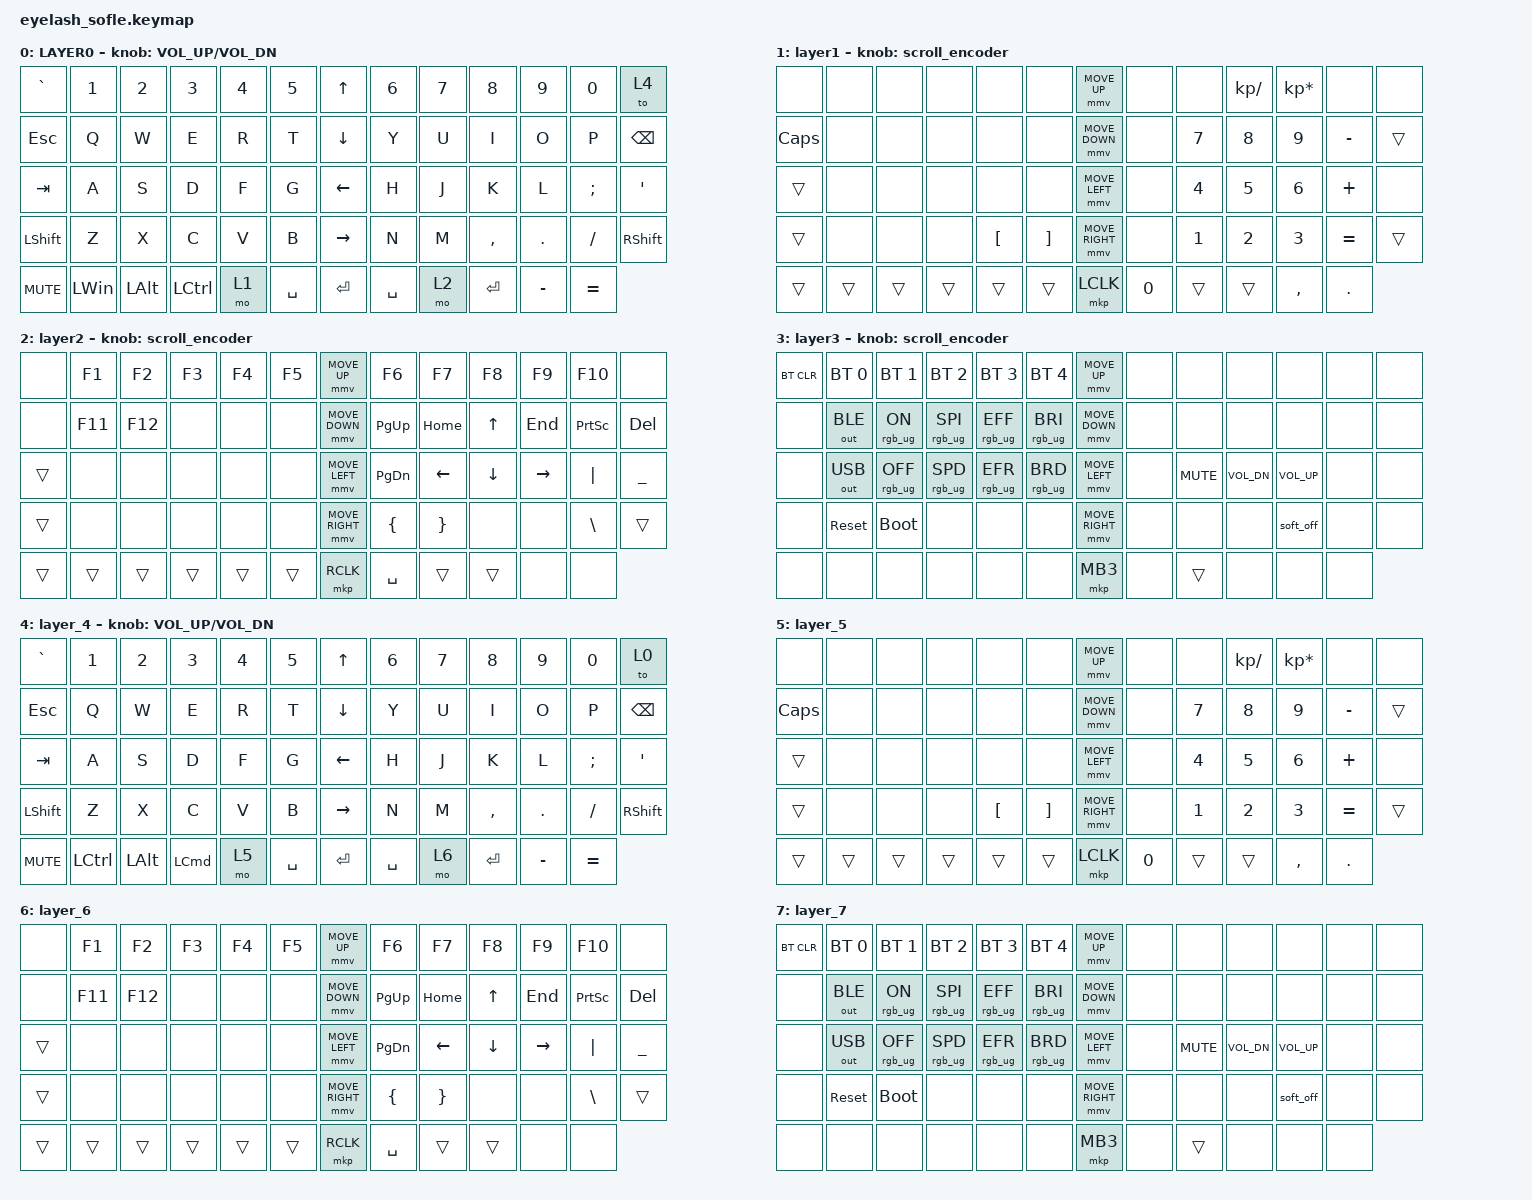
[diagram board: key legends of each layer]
#define ZMK_POINTING_DEFAULT_MOVE_VAL 1200  // 600
#define ZMK_POINTING_DEFAULT_SCRL_VAL 25   // 10

#include <input/processors.dtsi>
#include <zephyr/dt-bindings/input/input-event-codes.h>
#include <behaviors.dtsi>
#include <dt-bindings/zmk/bt.h>
#include <dt-bindings/zmk/keys.h>
#include <dt-bindings/zmk/outputs.h>
#include <dt-bindings/zmk/pointing.h>
#include <dt-bindings/zmk/rgb.h>

&mmv_input_listener { input-processors = <&zip_xy_scaler 2 1>; };

&msc_input_listener { input-processors = <&zip_scroll_scaler 2 1>; };

&msc {
    acceleration-exponent = <1>;      // 0
    time-to-max-speed-ms = <100>;       // 300
    delay-ms = <0>;                   // 0
};

&mmv {
    time-to-max-speed-ms = <500>;
    acceleration-exponent = <1>;
    trigger-period-ms = <16>;
};

&soft_off { hold-time-ms = <2000>; };

/ {
    scroll_encoder: scroll_encoder {
        compatible = "zmk,behavior-sensor-rotate";
        #sensor-binding-cells = <0>;
        bindings = <&msc SCRL_DOWN>, <&msc SCRL_UP>;

        tap-ms = <100>;
    };

    behaviors {
    };

    combos { compatible = "zmk,combos"; };

    keymap {
        compatible = "zmk,keymap";

        layer0 {
            bindings = <
&kp GRAVE   &kp N1        &kp N2        &kp N3     &kp N4  &kp N5       &kp UP_ARROW     &kp N6     &kp N7  &kp N8     &kp N9     &kp N0     &to 4
&kp ESCAPE  &kp Q         &kp W         &kp E      &kp R   &kp T        &kp DOWN_ARROW   &kp Y      &kp U   &kp I      &kp O      &kp P      &kp BACKSPACE
&kp TAB     &kp A         &kp S         &kp D      &kp F   &kp G        &kp LEFT_ARROW   &kp H      &kp J   &kp K      &kp L      &kp SEMI   &kp APOS
&kp LSHFT   &kp Z         &kp X         &kp C      &kp V   &kp B        &kp RIGHT_ARROW  &kp N      &kp M   &kp COMMA  &kp DOT    &kp FSLH   &kp RIGHT_SHIFT
&kp C_MUTE  &kp LEFT_WIN  &kp LEFT_ALT  &kp LCTRL  &mo 1   &kp SPACE    &kp ENTER        &kp SPACE  &mo 2   &kp ENTER  &kp MINUS  &kp EQUAL
            >;

            sensor-bindings = <&inc_dec_kp C_VOLUME_UP C_VOL_DN>;
            display-name = "LAYER0";
        };

        layer_1 {
            bindings = <
&none         &none   &none   &none   &none             &none                &mmv MOVE_UP     &none   &none         &kp KP_SLASH  &kp KP_MULTIPLY  &none      &none
&kp CAPSLOCK  &none   &none   &none   &none             &none                &mmv MOVE_DOWN   &none   &kp NUMBER_7  &kp NUMBER_8  &kp NUMBER_9     &kp MINUS  &trans
&trans        &none   &none   &none   &none             &none                &mmv MOVE_LEFT   &none   &kp NUMBER_4  &kp NUMBER_5  &kp NUMBER_6     &kp PLUS   &none
&trans        &none   &none   &none   &kp LEFT_BRACKET  &kp RIGHT_BRACKET    &mmv MOVE_RIGHT  &none   &kp NUMBER_1  &kp NUMBER_2  &kp NUMBER_3     &kp EQUAL  &trans
&trans        &trans  &trans  &trans  &trans            &trans               &mkp LCLK        &kp N0  &trans        &trans        &kp COMMA        &kp DOT
            >;

            display-name = "layer1";
            sensor-bindings = <&scroll_encoder>;
        };

        layer_2 {
            bindings = <
&none   &kp F1   &kp F2   &kp F3  &kp F4  &kp F5    &mmv MOVE_UP     &kp F6          &kp F7           &kp F8        &kp F9     &kp F10          &none
&none   &kp F11  &kp F12  &none   &none   &none     &mmv MOVE_DOWN   &kp PG_UP       &kp HOME         &kp UP_ARROW  &kp END    &kp PRINTSCREEN  &kp DELETE
&trans  &none    &none    &none   &none   &none     &mmv MOVE_LEFT   &kp PG_DN       &kp LEFT         &kp DOWN      &kp RIGHT  &kp PIPE         &kp UNDER
&trans  &none    &none    &none   &none   &none     &mmv MOVE_RIGHT  &kp LEFT_BRACE  &kp RIGHT_BRACE  &none         &none      &kp BSLH         &trans
&trans  &trans   &trans   &trans  &trans  &trans    &mkp RCLK        &kp SPACE       &trans           &trans        &none      &none
            >;

            display-name = "layer2";
            sensor-bindings = <&scroll_encoder>;
        };

        layer_3 {
            bindings = <
&bt BT_CLR  &bt BT_SEL 0  &bt BT_SEL 1     &bt BT_SEL 2     &bt BT_SEL 3     &bt BT_SEL 4       &mmv MOVE_UP     &none  &none       &none         &none         &none  &none
&none       &out OUT_BLE  &rgb_ug RGB_ON   &rgb_ug RGB_SPI  &rgb_ug RGB_EFF  &rgb_ug RGB_BRI    &mmv MOVE_DOWN   &none  &none       &none         &none         &none  &none
&none       &out OUT_USB  &rgb_ug RGB_OFF  &rgb_ug RGB_SPD  &rgb_ug RGB_EFR  &rgb_ug RGB_BRD    &mmv MOVE_LEFT   &none  &kp K_MUTE  &kp C_VOL_DN  &kp C_VOL_UP  &none  &none
&none       &sys_reset    &bootloader      &none            &none            &none              &mmv MOVE_RIGHT  &none  &none       &none         &soft_off     &none  &none
&none       &none         &none            &none            &none            &none              &mkp MB3         &none  &trans      &none         &none         &none
            >;

            display-name = "layer3";
            sensor-bindings = <&scroll_encoder>;
        };

        layer_4 {
            bindings = <
&kp GRAVE   &kp N1     &kp N2        &kp N3    &kp N4  &kp N5       &kp UP_ARROW     &kp N6     &kp N7  &kp N8     &kp N9     &kp N0     &to 0
&kp ESCAPE  &kp Q      &kp W         &kp E     &kp R   &kp T        &kp DOWN_ARROW   &kp Y      &kp U   &kp I      &kp O      &kp P      &kp BACKSPACE
&kp TAB     &kp A      &kp S         &kp D     &kp F   &kp G        &kp LEFT_ARROW   &kp H      &kp J   &kp K      &kp L      &kp SEMI   &kp APOS
&kp LSHFT   &kp Z      &kp X         &kp C     &kp V   &kp B        &kp RIGHT_ARROW  &kp N      &kp M   &kp COMMA  &kp DOT    &kp FSLH   &kp RIGHT_SHIFT
&kp C_MUTE  &kp LCTRL  &kp LEFT_ALT  &kp LCMD  &mo 5   &kp SPACE    &kp ENTER        &kp SPACE  &mo 6   &kp ENTER  &kp MINUS  &kp EQUAL
            >;

            sensor-bindings = <&inc_dec_kp C_VOLUME_UP C_VOL_DN>;
        };

        layer_5 {
            bindings = <
&none         &none   &none   &none   &none             &none                &mmv MOVE_UP     &none   &none         &kp KP_SLASH  &kp KP_MULTIPLY  &none      &none
&kp CAPSLOCK  &none   &none   &none   &none             &none                &mmv MOVE_DOWN   &none   &kp NUMBER_7  &kp NUMBER_8  &kp NUMBER_9     &kp MINUS  &trans
&trans        &none   &none   &none   &none             &none                &mmv MOVE_LEFT   &none   &kp NUMBER_4  &kp NUMBER_5  &kp NUMBER_6     &kp PLUS   &none
&trans        &none   &none   &none   &kp LEFT_BRACKET  &kp RIGHT_BRACKET    &mmv MOVE_RIGHT  &none   &kp NUMBER_1  &kp NUMBER_2  &kp NUMBER_3     &kp EQUAL  &trans
&trans        &trans  &trans  &trans  &trans            &trans               &mkp LCLK        &kp N0  &trans        &trans        &kp COMMA        &kp DOT
            >;
        };

        layer_6 {
            bindings = <
&none   &kp F1   &kp F2   &kp F3  &kp F4  &kp F5    &mmv MOVE_UP     &kp F6          &kp F7           &kp F8        &kp F9     &kp F10          &none
&none   &kp F11  &kp F12  &none   &none   &none     &mmv MOVE_DOWN   &kp PG_UP       &kp HOME         &kp UP_ARROW  &kp END    &kp PRINTSCREEN  &kp DELETE
&trans  &none    &none    &none   &none   &none     &mmv MOVE_LEFT   &kp PG_DN       &kp LEFT         &kp DOWN      &kp RIGHT  &kp PIPE         &kp UNDER
&trans  &none    &none    &none   &none   &none     &mmv MOVE_RIGHT  &kp LEFT_BRACE  &kp RIGHT_BRACE  &none         &none      &kp BSLH         &trans
&trans  &trans   &trans   &trans  &trans  &trans    &mkp RCLK        &kp SPACE       &trans           &trans        &none      &none
            >;
        };

        layer_7 {
            bindings = <
&bt BT_CLR  &bt BT_SEL 0  &bt BT_SEL 1     &bt BT_SEL 2     &bt BT_SEL 3     &bt BT_SEL 4       &mmv MOVE_UP     &none  &none       &none         &none         &none  &none
&none       &out OUT_BLE  &rgb_ug RGB_ON   &rgb_ug RGB_SPI  &rgb_ug RGB_EFF  &rgb_ug RGB_BRI    &mmv MOVE_DOWN   &none  &none       &none         &none         &none  &none
&none       &out OUT_USB  &rgb_ug RGB_OFF  &rgb_ug RGB_SPD  &rgb_ug RGB_EFR  &rgb_ug RGB_BRD    &mmv MOVE_LEFT   &none  &kp K_MUTE  &kp C_VOL_DN  &kp C_VOL_UP  &none  &none
&none       &sys_reset    &bootloader      &none            &none            &none              &mmv MOVE_RIGHT  &none  &none       &none         &soft_off     &none  &none
&none       &none         &none            &none            &none            &none              &mkp MB3         &none  &trans      &none         &none         &none
            >;
        };
    };

    conditional_layers {
        compatible = "zmk,conditional-layers";

        layer3 {
            if-layers = <1 2>;
            then-layer = <3>;
        };

        layer7 {
            if-layers = <5 6>;
            then-layer = <7>;
        };
    };
};
